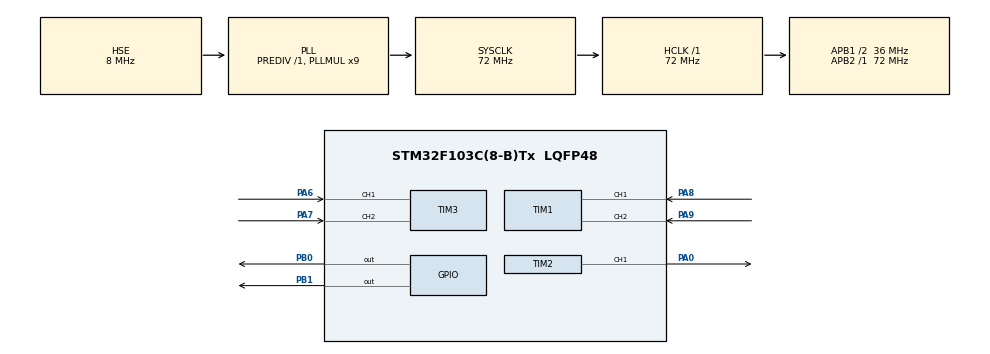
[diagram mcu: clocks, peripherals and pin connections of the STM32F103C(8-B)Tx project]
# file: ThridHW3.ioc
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Mcu.Family=STM32F1
Mcu.Name=STM32F103C(8-B)Tx
Mcu.Package=LQFP48
NVIC.PriorityGroup=NVIC_PRIORITYGROUP_4
NVIC.TIM4_IRQn=true\:0\:0\:false\:false\:true\:true\:true\:true
PA0-WKUP.Signal=S_TIM2_CH1_ETR
PA13.Mode=Serial_Wire
PA13.Signal=SYS_JTMS-SWDIO
PA14.Mode=Serial_Wire
PA14.Signal=SYS_JTCK-SWCLK
PA6.GPIO_PuPd=GPIO_PULLUP
PA6.Signal=S_TIM3_CH1
PA7.GPIO_PuPd=GPIO_PULLUP
PA7.Signal=S_TIM3_CH2
PA8.GPIO_PuPd=GPIO_PULLUP
PA8.Signal=S_TIM1_CH1
PA9.GPIO_PuPd=GPIO_PULLUP
PA9.Signal=S_TIM1_CH2
PB0.GPIO_ModeDefaultOutputPP=GPIO_MODE_OUTPUT_PP
PB0.Signal=GPIO_Output
PB1.GPIO_ModeDefaultOutputPP=GPIO_MODE_OUTPUT_PP
PB1.Signal=GPIO_Output
PD0-OSC_IN.Mode=HSE-External-Oscillator
PD0-OSC_IN.Signal=RCC_OSC_IN
PD1-OSC_OUT.Mode=HSE-External-Oscillator
PD1-OSC_OUT.Signal=RCC_OSC_OUT
ProjectManager.HeapSize=0x200
ProjectManager.StackSize=0x400
ProjectManager.TargetToolchain=MDK-ARM V5.32
RCC.ADCPresc=RCC_ADCPCLK2_DIV6
RCC.AHBFreq_Value=72000000
RCC.APB1CLKDivider=RCC_HCLK_DIV2
RCC.APB1Freq_Value=36000000
RCC.APB1TimFreq_Value=72000000
RCC.APB2Freq_Value=72000000
RCC.APB2TimFreq_Value=72000000
RCC.HCLKFreq_Value=72000000
RCC.PLLMUL=RCC_PLL_MUL9
RCC.PLLSourceVirtual=RCC_PLLSOURCE_HSE
RCC.SYSCLKFreq_VALUE=72000000
RCC.SYSCLKSource=RCC_SYSCLKSOURCE_PLLCLK
RCC.USBFreq_Value=72000000
SH.S_TIM1_CH1.0=TIM1_CH1,Encoder_Interface
SH.S_TIM1_CH2.0=TIM1_CH2,Encoder_Interface
SH.S_TIM2_CH1_ETR.0=TIM2_CH1,PWM Generation1 CH1
SH.S_TIM3_CH1.0=TIM3_CH1,Encoder_Interface
SH.S_TIM3_CH2.0=TIM3_CH2,Encoder_Interface
TIM1.EncoderMode=TIM_ENCODERMODE_TI12
TIM1.IC1Filter=6
TIM1.IC2Filter=6
TIM2.AutoReloadPreload=TIM_AUTORELOAD_PRELOAD_ENABLE
TIM2.Channel-PWM\ Generation1\ CH1=TIM_CHANNEL_1
TIM2.Period=3599
TIM3.EncoderMode=TIM_ENCODERMODE_TI12
TIM3.IC1Filter=6
TIM3.IC2Filter=6
TIM4.AutoReloadPreload=TIM_AUTORELOAD_PRELOAD_ENABLE
TIM4.Period=99
TIM4.Prescaler=7199
VP_TIM2_VS_ClockSourceINT.Mode=Internal
VP_TIM4_VS_ClockSourceINT.Mode=Internal
board=custom

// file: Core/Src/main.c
/* USER CODE BEGIN Header */
/**
  ******************************************************************************
  * @file           : main.c
  * @brief          : Main program body
  ******************************************************************************
  * @attention
  *
  * Copyright (c) 2026 STMicroelectronics.
  * All rights reserved.
  *
  * This software is licensed under terms that can be found in the LICENSE file
  * in the root directory of this software component.
  * If no LICENSE file comes with this software, it is provided AS-IS.
  *
  ******************************************************************************
  */
/* USER CODE END Header */
#include "main.h"
#include "tim.h"
#include "gpio.h"

/* USER CODE BEGIN Includes */
#include "app.h"

/* USER CODE END Includes */

void SystemClock_Config(void);
/* USER CODE BEGIN PFP */
static void Board_Led_Init(void);
/* USER CODE END PFP */

int main(void)
{

  /* MCU Configuration--------------------------------------------------------*/

  /* Reset of all peripherals, Initializes the Flash interface and the Systick. */
  HAL_Init();

  /* Configure the system clock */
  SystemClock_Config();

  /* Initialize all configured peripherals */
  MX_GPIO_Init();
  Board_Led_Init();
  MX_TIM1_Init();
  MX_TIM2_Init();
  MX_TIM3_Init();
  MX_TIM4_Init();
  /* USER CODE BEGIN 2 */
  App_Init();

  /* USER CODE END 2 */

  /* Infinite loop */
  while (1)
  {

    /* USER CODE BEGIN 3 */
    App_Loop();
  }
  /* USER CODE END 3 */
}

void SystemClock_Config(void)
{
  RCC_OscInitTypeDef RCC_OscInitStruct = {0};
  RCC_ClkInitTypeDef RCC_ClkInitStruct = {0};

  /** Initializes the RCC Oscillators according to the specified parameters
  * in the RCC_OscInitTypeDef structure.
  */
  RCC_OscInitStruct.OscillatorType = RCC_OSCILLATORTYPE_HSE;
  RCC_OscInitStruct.HSEState = RCC_HSE_ON;
  RCC_OscInitStruct.HSEPredivValue = RCC_HSE_PREDIV_DIV1;
  RCC_OscInitStruct.HSIState = RCC_HSI_ON;
  RCC_OscInitStruct.PLL.PLLState = RCC_PLL_ON;
  RCC_OscInitStruct.PLL.PLLSource = RCC_PLLSOURCE_HSE;
  RCC_OscInitStruct.PLL.PLLMUL = RCC_PLL_MUL9;
  if (HAL_RCC_OscConfig(&RCC_OscInitStruct) != HAL_OK)
  {
    Error_Handler();
  }

  /** Initializes the CPU, AHB and APB buses clocks
  */
  RCC_ClkInitStruct.ClockType = RCC_CLOCKTYPE_HCLK|RCC_CLOCKTYPE_SYSCLK
                              |RCC_CLOCKTYPE_PCLK1|RCC_CLOCKTYPE_PCLK2;
  RCC_ClkInitStruct.SYSCLKSource = RCC_SYSCLKSOURCE_PLLCLK;
  RCC_ClkInitStruct.AHBCLKDivider = RCC_SYSCLK_DIV1;
  RCC_ClkInitStruct.APB1CLKDivider = RCC_HCLK_DIV2;
  RCC_ClkInitStruct.APB2CLKDivider = RCC_HCLK_DIV1;

  if (HAL_RCC_ClockConfig(&RCC_ClkInitStruct, FLASH_LATENCY_2) != HAL_OK)
  {
    Error_Handler();
  }
}

/* USER CODE BEGIN 4 */
static void Board_Led_Init(void)
{
  GPIO_InitTypeDef GPIO_InitStruct = {0};

  __HAL_RCC_GPIOC_CLK_ENABLE();

  GPIO_InitStruct.Pin = GPIO_PIN_13;
  GPIO_InitStruct.Mode = GPIO_MODE_OUTPUT_PP;
  GPIO_InitStruct.Pull = GPIO_NOPULL;
  GPIO_InitStruct.Speed = GPIO_SPEED_FREQ_LOW;
  HAL_GPIO_Init(GPIOC, &GPIO_InitStruct);

  /* Blue Pill PC13 LED: low level = on. */
  HAL_GPIO_WritePin(GPIOC, GPIO_PIN_13, GPIO_PIN_RESET);
}

void HAL_TIM_PeriodElapsedCallback(TIM_HandleTypeDef *htim)
{
  App_TimerISR(htim);
}

/* USER CODE END 4 */

void Error_Handler(void)
{
  __disable_irq();
  while (1)
  {
  }
}
